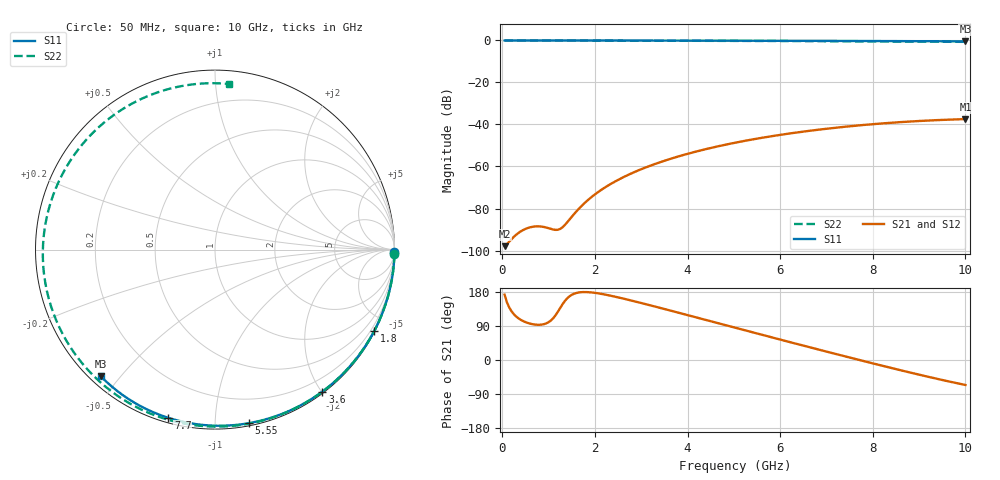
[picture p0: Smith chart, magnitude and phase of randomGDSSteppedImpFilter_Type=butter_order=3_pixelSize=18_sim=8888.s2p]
! freq	dB(S11)	phase(S11)	dB(S12)	phase(S12)
!  dB(S21)	phase(S21)	dB(S22)	phase(S22)
!S-par simulation data
#  GHz  S  DB  R 50
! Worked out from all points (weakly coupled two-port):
!   200 points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, 50 MHz to 10 GHz, reference 50 ohm
!   highest |S21| = -37.44 dB at 10 GHz (marker M1); lowest = -97.9 dB at 50 MHz (marker M2)
!   lowest |S11| = -0.4 dB at 10 GHz (marker M3), VSWR 39.08, Z = 1.53 - j22.2 ohm
!   |S11| at or under -10 dB: nowhere
!   |S22| runs from -0.7 to 0.0 dB; largest |S21 - S12| = 0
!   S11 on the Smith chart (normalised r, x): 50 MHz: open; 1.8 GHz: 0.04, -4.16; 3.6 GHz: 0.02, -2.01; 5.55 GHz: 0.02, -1.21; 7.7 GHz: 0.02, -0.76; 10 GHz: 0.03, -0.44
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0.05  -0.00 -0.8  -97.93 172.4  -97.93 172.4  -0.00 -1.4
0.8  -0.01 -12.1  -88.51 92.9  -88.51 92.9  -0.02 -21.8
1.65  -0.03 -24.8  -80.18 178.1  -80.18 178.1  -0.06 -44.5
1.75  -0.03 -26.3  -77.95 179.3  -77.95 179.3  -0.06 -47.1
1.8  -0.03 -27.1  -76.93 179.3  -76.93 179.3  -0.06 -48.4
2.1  -0.04 -31.5  -71.68 175.3  -71.68 175.3  -0.07 -56.2
2.45  -0.05 -36.6  -66.96 166.7  -66.96 166.7  -0.08 -65.2
2.9  -0.06 -43.0  -62.21 153.5  -62.21 153.5  -0.10 -76.5
3.4  -0.07 -50.1  -58.01 137.8  -58.01 137.8  -0.12 -89.0
3.6  -0.07 -52.9  -56.57 131.4  -56.57 131.4  -0.13 -93.9
4.3  -0.09 -62.5  -52.24 108.8  -52.24 108.8  -0.16 -110.9
5.05  -0.11 -72.5  -48.58 84.5  -48.58 84.5  -0.20 -129.0
5.55  -0.13 -79.0  -46.55 68.4  -46.55 68.4  -0.23 -141.2
6.15  -0.15 -86.6  -44.46 49.1  -44.46 49.1  -0.28 -156.0
6.7  -0.18 -93.5  -42.82 31.6  -42.82 31.6  -0.33 -170.1
7.2  -0.21 -99.5  -41.54 15.9  -41.54 15.9  -0.38 176.5
7.7  -0.24 -105.5  -40.44 0.3  -40.44 0.3  -0.43 162.4
8.35  -0.29 -113.1  -39.25 -19.5  -39.25 -19.5  -0.50 142.8
8.8  -0.33 -118.4  -38.59 -32.9  -38.59 -32.9  -0.55 128.2
9.25  -0.37 -123.5  -38.06 -45.8  -38.06 -45.8  -0.60 112.8
9.65  -0.41 -128.1  -37.69 -56.8  -37.69 -56.8  -0.64 98.3
10  -0.44 -132.0  -37.44 -65.9  -37.44 -65.9  -0.67 85.2
